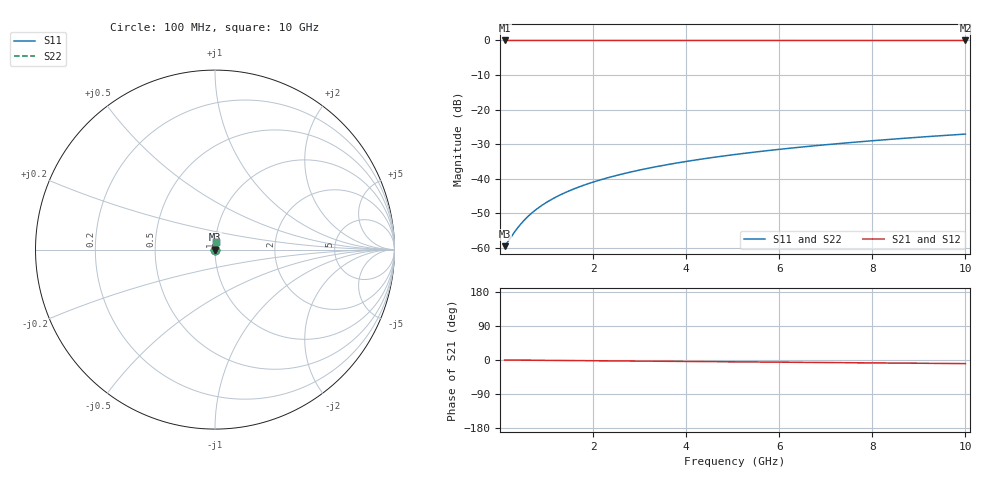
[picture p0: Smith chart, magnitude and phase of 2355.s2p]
# Hz S RI R 50.00
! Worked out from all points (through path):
!   100 points, 100 MHz to 10 GHz, reference 50 ohm
!   highest |S21| = -0.01 dB at 100 MHz (marker M1); lowest = 0.0 dB at 10 GHz (marker M2)
!   group delay of S21, straight-line fit = 2.65 ps
!   lowest |S11| = -59.5 dB at 100 MHz (marker M3), VSWR 1.00, Z = 50.1 + j0.0442 ohm
!   |S11| at or under -10 dB: start of sweep to end of sweep
!   |S22| runs from -59.5 to -27.1 dB; largest |S21 - S12| = 0
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1e8  0.000956 0.000441  0.999 -0.00166  0.999 -0.00166  0.000956 0.000441
3e8  0.000972 0.00132  0.999 -0.00497  0.999 -0.00497  0.000972 0.00132
4e8  0.000981 0.00176  0.999 -0.00662  0.999 -0.00662  0.000981 0.00176
5e8  0.00099 0.0022  0.999 -0.00828  0.999 -0.00828  0.00099 0.0022
6e8  0.001 0.00264  0.999 -0.00994  0.999 -0.00994  0.001 0.00264
7e8  0.00101 0.00309  0.9989 -0.0116  0.9989 -0.0116  0.00101 0.00309
8e8  0.00102 0.00353  0.9989 -0.0132  0.9989 -0.0132  0.00102 0.00353
1e9  0.00105 0.00441  0.9989 -0.0166  0.9989 -0.0166  0.00105 0.00441
1.2e9  0.00109 0.00529  0.9988 -0.0199  0.9988 -0.0199  0.00109 0.00529
1.5e9  0.00115 0.00661  0.9987 -0.0248  0.9987 -0.0248  0.00115 0.00661
1.8e9  0.00123 0.00793  0.9985 -0.0298  0.9985 -0.0298  0.00123 0.00793
2.1e9  0.00132 0.00925  0.9983 -0.0348  0.9983 -0.0348  0.00132 0.00925
2.5e9  0.00145 0.011  0.9981 -0.0414  0.9981 -0.0414  0.00145 0.011
2.9e9  0.00161 0.0128  0.9977 -0.048  0.9977 -0.048  0.00161 0.0128
3.4e9  0.00185 0.015  0.9973 -0.0563  0.9973 -0.0563  0.00185 0.015
4.2e9  0.0023 0.0184  0.9963 -0.0696  0.9963 -0.0696  0.0023 0.0184
5.1e9  0.00291 0.0224  0.9951 -0.0844  0.9951 -0.0844  0.00291 0.0224
5.9e9  0.00356 0.0258  0.9938 -0.0977  0.9938 -0.0977  0.00356 0.0258
6.7e9  0.0043 0.0293  0.9923 -0.1109  0.9923 -0.1109  0.0043 0.0293
7.5e9  0.00513 0.0327  0.9906 -0.1241  0.9906 -0.1241  0.00513 0.0327
8.4e9  0.00618 0.0366  0.9885 -0.1389  0.9885 -0.1389  0.00618 0.0366
1e10  0.00832 0.0433  0.9841 -0.1653  0.9841 -0.1653  0.00832 0.0433
